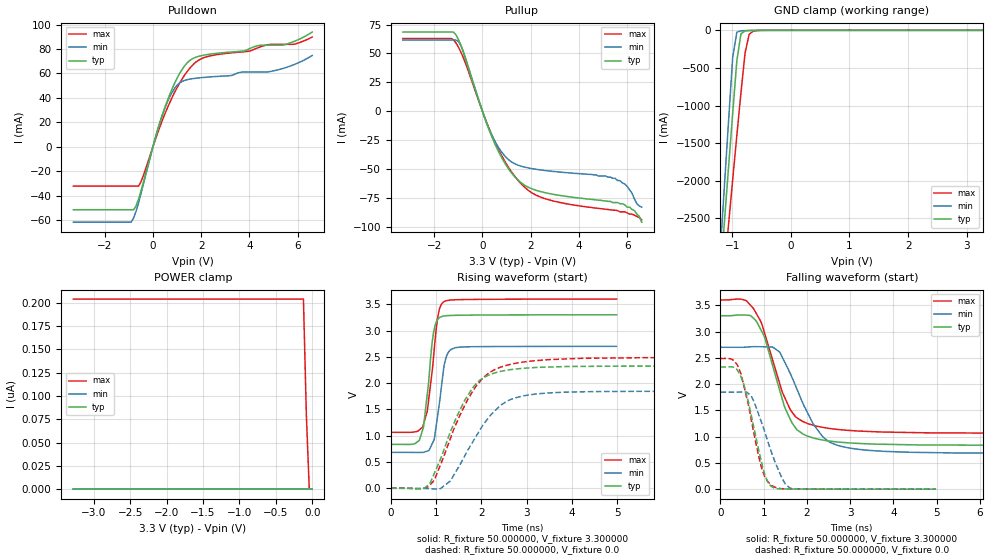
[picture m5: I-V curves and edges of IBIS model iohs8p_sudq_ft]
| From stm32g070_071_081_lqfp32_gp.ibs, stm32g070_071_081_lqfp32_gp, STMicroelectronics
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|   Model iohs8p_sudq_ft
[Model]  iohs8p_sudq_ft
Model_type I/O
Polarity   Non-Inverting
Enable   Active-Low
Vinl =   0.990000V
Vinh =   2.310000V
Vmeas =  1.650000V
Cref =   30.000000pF
Rref =   100.000000M
Vref =   0.0V
C_comp   2.036400pF   1.984000pF   2.082300pF
[Temperature Range]   25.000000   -40.000000   0.125000k
[Pullup Reference]   3.300000V   2.700000V   3.600000V
[Pulldown Reference]   0.0V   0.0V   0.0V
[POWER Clamp Reference]   3.300000V   2.700000V   3.600000V
[GND Clamp Reference]   0.0V   0.0V   0.0V
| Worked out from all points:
|   slope of the pulldown table from 0 to 0.495 V, typ, clamps not added: 15.4 ohm
|   slope of the pullup table from 0 to 0.495 V, typ, clamps not added: 18.1 ohm
|   GND clamp passes 1 mA (typ) near -0.60 V on its own axis
|   rising waveform, R_fixture 50.000000, V_fixture 3.300000: 20-80 % time 175ps typ, 184ps min, 191ps max; typ from 0.835 V to 3.3 V
|   rising waveform, R_fixture 50.000000, V_fixture 0.0: 20-80 % time 718ps typ, 830ps min, 808ps max; typ from 0 V to 2.33 V
|   falling waveform, R_fixture 50.000000, V_fixture 3.300000: 20-80 % time 564ps typ, 726ps min, 605ps max; typ from 3.3 V to 0.835 V
|   falling waveform, R_fixture 50.000000, V_fixture 0.0: 20-80 % time 381ps typ, 476ps min, 388ps max; typ from 2.33 V to 0 V
[Pulldown]
|Voltage   I(typ)   I(min)   I(max)
-3.3V     -51.63mA   -61.84mA   -32.32mA
-900mV    -51.63mA   -61.84mA   -32.32mA
-800mV    -51.63mA   -58.24mA   -32.32mA
-500mV    -36.51mA   -38.71mA   -28.96mA
400mV     26.66mA    26.58mA    22.18mA
800mV     47.72mA    44.74mA    40.6mA
1.1V      59.79mA    52.18mA    51.93mA
1.5V      70.22mA    55.24mA    63.66mA
2.1V      74.97mA    56.75mA    72.88mA
4.9V      83.19mA    61.75mA    83.83mA
5.9V      86.64mA    67.67mA    84.15mA
6.6V      93.9mA     74.68mA    89.84mA
[Pullup]
|Voltage   I(typ)   I(min)   I(max)
-3.3V     68.52mA    61.65mA    62.96mA
-1.1V     66.11mA    61.65mA    59.23mA
-800mV    51.99mA    51.74mA    46.62mA
100mV     -6.166mA   -5.972mA   -5.649mA
600mV     -32.08mA   -29.08mA   -30.29mA
1.2V      -53.2mA    -43.76mA   -52.32mA
1.9V      -65.77mA   -49.03mA   -68.4mA
3.1V      -72.48mA   -52.41mA   -78.44mA
5.5V      -79mA      -58mA      -85.6mA
6V        -83mA      -65mA      -88mA
6.3V      -86mA      -76mA      -90mA
6.6V      -96mA      -83mA      -94mA
[GND_clamp]
|Voltage   I(typ)   I(min)   I(max)
-3.3V     -9.812A    -9.822A    -9.937A
-1.2V     -3.251A    -2.905A    -3.763A
-1.13V    -2.527A    -2.046A    -3.165A
-1.06V    -1.808A    -1.191A    -2.57A
-990mV    -1.097A    -352.6mA   -1.979A
-920mV    -404.2mA   -25.08mA   -1.398A
-850mV    -46.53mA   -6.503mA   -832.3mA
-780mV    -8.496mA   -3.578mA   -302.4mA
-710mV    -3.383mA   -1.716mA   -53.8mA
-640mV    -1.589mA   -553.8uA   -11.72mA
-360mV    -2.023uA   0A         -84.67uA
3.28V     0A         0A         0A
[POWER_clamp]
|Voltage   I(typ)   I(min)   I(max)
-3.28V    0A         0A         204.1nA
-120mV    0A         0A         204.1nA
-80mV     0A         0A         79.47nA
-40mV     0A         0A         0A
0V        0A         0A         0A
[Ramp]
| variable   typ   min   max
dV/dt_r  1.39476/0.71674n   1.10718/0.82878n   1.49076/0.80690n
dV/dt_f  1.47901/0.56356n   1.21004/0.72569n   1.52124/0.60476n
R_load = 50.000000
[Rising Waveform]
R_fixture= 50.000000
V_fixture= 3.300000
V_fixture_min= 2.700000
V_fixture_max= 3.600000
|time   V(typ)   V(min)   V(max)
0s        835mV      683.3mV    1.065V
530.5ps   848.1mV    682.1mV    1.073V
700.7ps   1.11V      682.9mV    1.164V
810.8ps   1.844V     710.6mV    1.513V
940.9ps   2.954V     899mV      2.484V
1.041ns   3.221V     1.431V     3.281V
1.171ns   3.277V     2.318V     3.549V
1.281ns   3.286V     2.6V       3.577V
1.532ns   3.292V     2.686V     3.589V
4.985ns   3.3V       2.7V       3.6V
[Rising Waveform]
R_fixture= 50.000000
V_fixture= 0.0
V_fixture_min= 0.0
V_fixture_max= 0.0
|time   V(typ)   V(min)   V(max)
0s        24.38uV    -1.232uV   39.9uV
734.1ps   1.035mV    -3.343mV   -313.8uV
934.3ps   232.5mV    -11.62mV   128.5mV
1.101ns   566.2mV    -1.634mV   458.9mV
1.301ns   1.044V     130.8mV    917.4mV
1.602ns   1.625V     568.3mV    1.524V
1.902ns   2.007V     1.016V     1.962V
2.402ns   2.22V      1.563V     2.296V
2.803ns   2.273V     1.731V     2.385V
16.62ns   2.325V     1.845V     2.485V
[Falling Waveform]
R_fixture= 50.000000
V_fixture= 3.300000
V_fixture_min= 2.700000
V_fixture_max= 3.600000
|time   V(typ)   V(min)   V(max)
0s        3.3V       2.7V       3.6V
600.6ps   3.311V     2.703V     3.586V
834.2ps   3.192V     2.711V     3.336V
1.034ns   2.857V     2.709V     2.933V
1.368ns   1.888V     2.611V     2.016V
1.768ns   1.132V     1.904V     1.356V
2.336ns   938.9mV    1.031V     1.181V
2.936ns   882.5mV    789.5mV    1.12V
4.371ns   845.1mV    702.1mV    1.078V
16.62ns   835mV      683.3mV    1.065V
[Falling Waveform]
R_fixture= 50.000000
V_fixture= 0.0
V_fixture_min= 0.0
V_fixture_max= 0.0
|time   V(typ)   V(min)   V(max)
0s        2.325V     1.845V     2.485V
310.3ps   2.32V      1.845V     2.45V
450.5ps   2.187V     1.847V     2.245V
710.7ps   1.414V     1.775V     1.331V
951ps     511.3mV    1.267V     407.6mV
1.031ns   264.5mV    1.075V     230.5mV
1.181ns   51.28mV    698.8mV    72.53mV
1.431ns   5.2mV      195.2mV    8.721mV
1.622ns   3.374mV    16.99mV    4.414mV
4.985ns   24.38uV    -1.232uV   39.9uV
